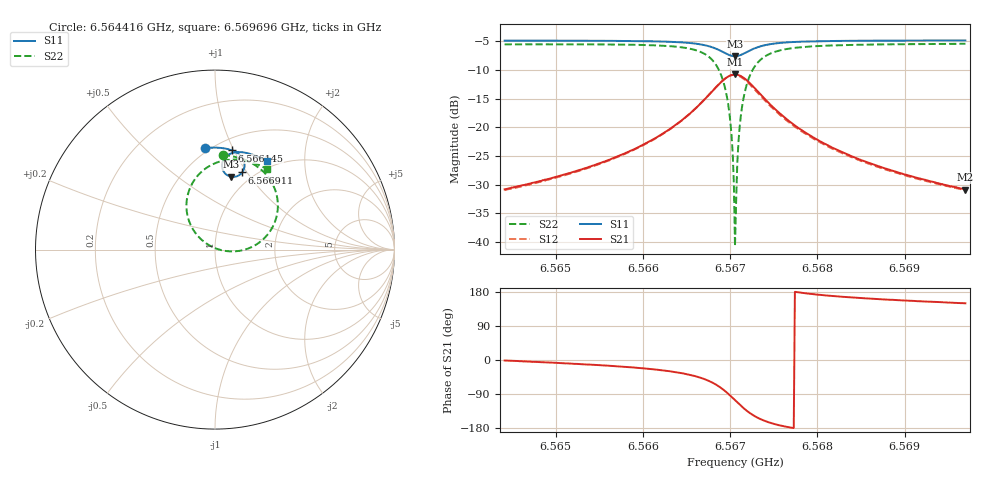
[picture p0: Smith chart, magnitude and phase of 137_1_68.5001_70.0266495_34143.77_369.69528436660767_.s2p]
#  HZ  S  RI  R  50.00
! Rohde & Schwarz Vector Network Analyzer
! Rohde-Schwarz,ZNB20-2Port,1311601062101988,3.16
! Created: UTC 3/20/2024, 4:54:42 PM
! freq[Hz]  re:S11  im:S11  re:S21  im:S21  re:S12  im:S12  re:S22  im:S22
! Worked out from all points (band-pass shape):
!   401 points, 6.564416 GHz to 6.569696 GHz, reference 50 ohm
!   highest |S21| = -10.79 dB at 6.567056 GHz (marker M1); lowest = -30.8 dB at 6.569696 GHz (marker M2)
!   |S21| within 3 dB of the highest: 6.566791 GHz to 6.567319 GHz (528.6 kHz wide, 0.00805 % of centre)
!   lowest |S11| = -7.6 dB at 6.567056 GHz (marker M3), VSWR 2.42, Z = 41.4 + j40.7 ohm
!   |S11| at or under -10 dB: nowhere
!   |S22| runs from -40.7 to -5.4 dB; largest |S21 - S12| = 0.014
!   S11 on the Smith chart (normalised r, x): 6.564416 GHz: 0.47, +0.79; 6.566145 GHz: 0.61, +0.98; 6.566911 GHz: 0.88, +0.95; 6.569696 GHz: 0.90, +1.32
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6.5644157e9  -0.0578 0.5663  0.0289 -0.000691  0.0284 -0.00118  0.0439 0.5265
6.5653001e9  0.0151 0.5677  0.0423 -0.00817  0.0416 -0.00885  0.1292 0.5119
6.5661449e9  0.0952 0.5526  0.073 -0.0345  0.072 -0.0351  0.2431 0.4567
6.5661845e9  0.0994 0.551  0.0755 -0.0371  0.0744 -0.038  0.2503 0.4513
6.5666993e9  0.1596 0.496  0.1111 -0.1319  0.1084 -0.1346  0.3495 0.2668
6.5668181e9  0.1644 0.4627  0.0999 -0.1904  0.0951 -0.1942  0.3339 0.1549
6.5669105e9  0.1517 0.4301  0.0607 -0.246  0.0518 -0.249  0.2615 0.0515
6.5669897e9  0.1219 0.4083  -0.00763 -0.2801  -0.0196 -0.2793  0.1361 -0.00704
6.5670161e9  0.1085 0.4053  -0.0359 -0.2834  -0.0485 -0.2804  0.0846 -0.0101
6.5670293e9  0.1016 0.405  -0.0503 -0.2828  -0.0633 -0.2787  0.0585 -0.0076
6.5670425e9  0.0947 0.4054  -0.0651 -0.2808  -0.0778 -0.2757  0.0326 -0.0025
6.5670557e9  0.0876 0.4066  -0.0796 -0.2774  -0.092 -0.2711  0.00743 0.00547
6.5670689e9  0.0809 0.4085  -0.0939 -0.2727  -0.1055 -0.2652  -0.0168 0.0157
6.5670821e9  0.0745 0.4112  -0.1072 -0.2664  -0.1183 -0.2581  -0.0397 0.0284
6.5671085e9  0.0627 0.4186  -0.1315 -0.2506  -0.1411 -0.2407  -0.08 0.0597
6.5671349e9  0.0531 0.4279  -0.1516 -0.231  -0.1594 -0.2198  -0.1122 0.0967
6.5671877e9  0.0415 0.4497  -0.1777 -0.1873  -0.1815 -0.1754  -0.1502 0.1771
6.5672537e9  0.0393 0.4765  -0.1875 -0.1349  -0.1877 -0.1243  -0.1579 0.2694
6.5675045e9  0.0773 0.5307  -0.1438 -0.0284  -0.1406 -0.024  -0.0568 0.4485
6.5679401e9  0.1402 0.5433  -0.0822 0.00861  -0.0803 0.00993  0.0816 0.5009
6.5688245e9  0.2238 0.5235  -0.0399 0.0153  -0.039 0.0155  0.2125 0.4839
6.5696957e9  0.2888 0.4926  -0.0248 0.0145  -0.0243 0.0146  0.2905 0.4485
